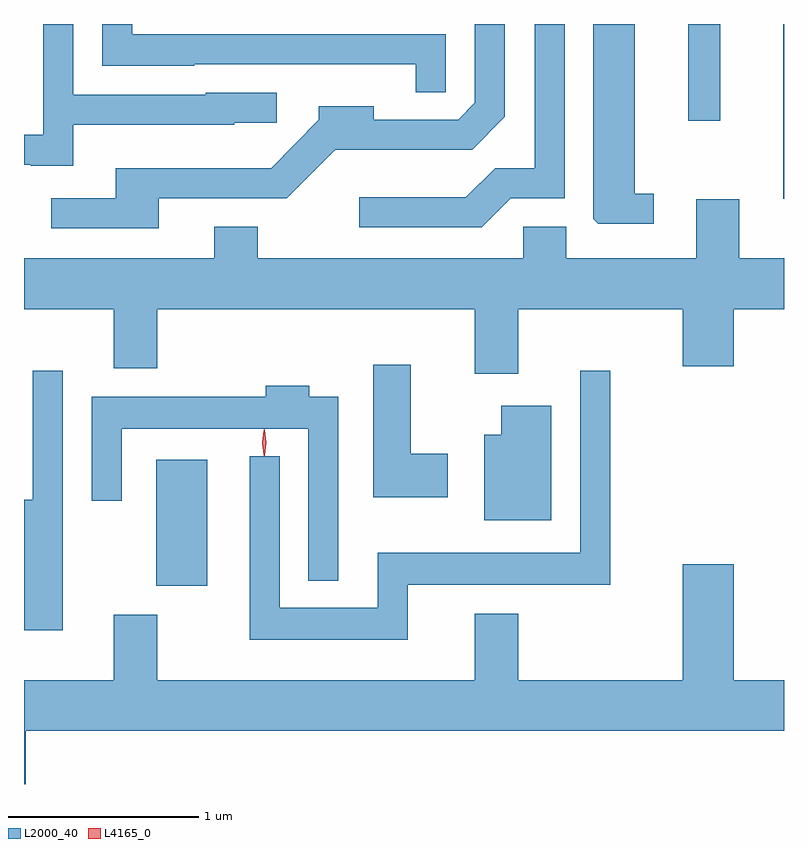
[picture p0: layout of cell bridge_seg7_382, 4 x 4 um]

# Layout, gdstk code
import gdstk
lib = gdstk.Library(unit=1e-6, precision=1e-09)
def R(c, l, rs):  # rectangles x0, y0, x1, y1
    for r in rs: c.add(gdstk.rectangle(r[:2], r[2:], *l))
def P(c, l, *ps):  # polygons
    for p in ps: c.add(gdstk.Polygon(p, *l))
L2000_40 = (2000, 40)
L4165_0 = (4165, 0)

bridge_seg7_382 = lib.new_cell('bridge_seg7_382')
R(bridge_seg7_382, L2000_40, [(1071.446,1741.721,1071.714,1742.384), (1074.746,1743.756,1074.749,1744.677), (1074.246,1744.168,1074.414,1744.677)])
P(bridge_seg7_382, L2000_40, [(1073.312,1743.761),(1073.594,1743.761),(1073.594,1744.677),(1073.436,1744.677),(1073.436,1743.919),(1073.229,1743.919),(1073.074,1743.764),(1072.513,1743.764),(1072.513,1743.606),(1073.157,1743.606)],
  [(1071.009,1744.146),(1071.855,1744.146),(1071.855,1744.156),(1072.078,1744.156),(1072.078,1744.314),(1071.705,1744.314),(1071.705,1744.304),(1071.009,1744.304),(1071.009,1744.677),(1070.851,1744.677),(1070.851,1744.094),(1070.749,1744.094),(1070.749,1743.936),(1070.785,1743.936),(1070.785,1743.931),(1071.009,1743.931)],
  [(1074.063,1743.784),(1073.964,1743.784),(1073.964,1744.677),(1073.746,1744.677),(1073.746,1743.652),(1073.772,1743.626),(1074.063,1743.626)],
  [(1071.459,1743.761),(1072.132,1743.761),(1072.387,1744.016),(1073.107,1744.016),(1073.279,1744.189),(1073.279,1744.677),(1073.121,1744.677),(1073.121,1744.262),(1073.034,1744.174),(1072.589,1744.174),(1072.589,1744.244),(1072.301,1744.244),(1072.301,1744.172),(1072.049,1743.919),(1071.231,1743.919),(1071.231,1743.759),(1070.893,1743.759),(1070.893,1743.601),(1071.459,1743.601)],
  [(1072.969,1744.624),(1071.319,1744.624),(1071.319,1744.677),(1071.161,1744.677),(1071.161,1744.456),(1071.645,1744.456),(1071.645,1744.466),(1072.811,1744.466),(1072.811,1744.318),(1072.969,1744.318)],
  [(1073.349,1743.176),(1074.216,1743.176),(1074.216,1742.876),(1074.484,1742.876),(1074.484,1743.176),(1074.749,1743.176),(1074.749,1743.444),(1074.514,1743.444),(1074.514,1743.754),(1074.286,1743.754),(1074.286,1743.444),(1073.604,1743.444),(1073.604,1743.609),(1073.376,1743.609),(1073.376,1743.444),(1071.979,1743.444),(1071.979,1743.609),(1071.751,1743.609),(1071.751,1743.444),(1070.749,1743.444),(1070.749,1743.176),(1071.221,1743.176),(1071.221,1742.866),(1071.449,1742.866),(1071.449,1743.176),(1073.121,1743.176),(1073.121,1742.836),(1073.349,1742.836)],
  [(1072.979,1742.414),(1072.784,1742.414),(1072.784,1742.884),(1072.586,1742.884),(1072.586,1742.186),(1072.979,1742.186)],
  [(1072.769,1741.726),(1073.834,1741.726),(1073.834,1742.853),(1073.676,1742.853),(1073.676,1741.894),(1072.611,1741.894),(1072.611,1741.604),(1072.094,1741.604),(1072.094,1742.403),(1071.936,1742.403),(1071.936,1741.436),(1072.769,1741.436)],
  [(1070.954,1742.853),(1070.796,1742.853),(1070.796,1742.174),(1070.749,1742.174),(1070.749,1741.486),(1070.954,1741.486)],
  [(1072.404,1742.714),(1072.249,1742.714),(1072.249,1742.774),(1072.021,1742.774),(1072.021,1742.714),(1071.106,1742.714),(1071.106,1742.168),(1071.264,1742.168),(1071.264,1742.546),(1072.246,1742.546),(1072.246,1741.748),(1072.404,1741.748)],
  [(1073.524,1742.669),(1073.261,1742.669),(1073.261,1742.514),(1073.171,1742.514),(1073.171,1742.066),(1073.524,1742.066)],
  [(1070.759,1740.956),(1074.749,1740.956),(1074.749,1741.224),(1074.484,1741.224),(1074.484,1741.834),(1074.216,1741.834),(1074.216,1741.224),(1073.349,1741.224),(1073.349,1741.574),(1073.121,1741.574),(1073.121,1741.224),(1071.449,1741.224),(1071.449,1741.569),(1071.221,1741.569),(1071.221,1741.224),(1070.749,1741.224),(1070.749,1740.677),(1070.759,1740.677)])
P(bridge_seg7_382, L4165_0, [(1072.011,1742.407),(1072.002,1742.474),(1072.011,1742.54),(1072.012,1742.54),(1072.012,1742.54),(1072.022,1742.474),(1072.012,1742.407),(1072.012,1742.407)],
  [(1072.014,1742.404),(1072.014,1742.404),(1072.004,1742.473),(1072.014,1742.542),(1072.014,1742.543),(1072.015,1742.542),(1072.024,1742.473),(1072.015,1742.404)])

lib.write_gds('bridge_seg7_382.gds')
